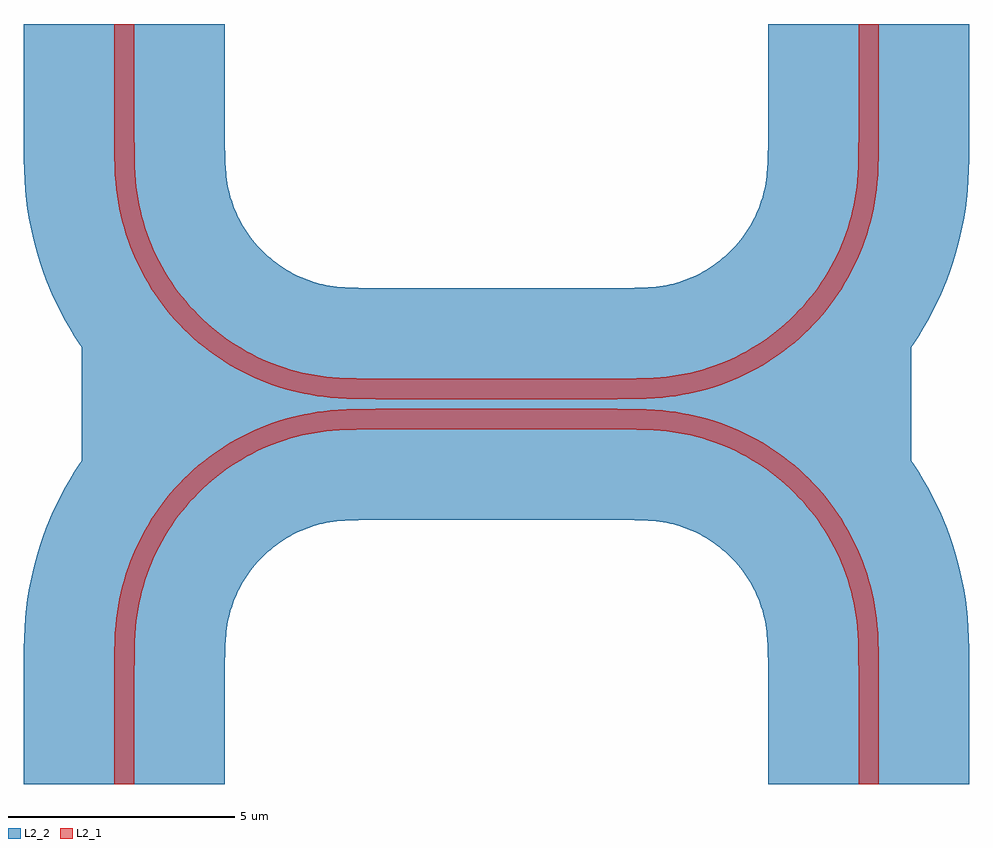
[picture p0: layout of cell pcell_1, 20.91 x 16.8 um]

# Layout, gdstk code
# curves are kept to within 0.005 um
import gdstk
lib = gdstk.Library(unit=1e-6, precision=1e-09)
def R(c, l, rs):  # rectangles x0, y0, x1, y1
    for r in rs: c.add(gdstk.rectangle(r[:2], r[2:], *l))
def P(c, l, *ps):  # polygons
    for p in ps: c.add(gdstk.Polygon(p, *l))
L2_1 = (2, 1)
L2_2 = (2, 2)

pcell_1_wg1a = lib.new_cell('pcell_1_wg1a')
P(pcell_1_wg1a, L2_1, [(-8.003,-8.398),(-7.997,-5.461),(-7.971,-4.931),(-7.941,-4.667),(-7.895,-4.404),(-7.8,-4.015),(-7.718,-3.762),(-7.57,-3.39),(-7.454,-3.15),(-7.255,-2.803),(-7.107,-2.582),(-6.946,-2.369),(-6.684,-2.067),(-6.495,-1.878),(-6.193,-1.616),(-5.98,-1.455),(-5.759,-1.307),(-5.412,-1.108),(-5.172,-0.992),(-4.926,-0.89),(-4.547,-0.762),(-4.288,-0.695),(-3.895,-0.621),(-3.631,-0.591),(-3.293,-0.571),(-2.425,-0.559),(0,-0.559),(0,-0.109),(-2.426,-0.109),(-3.311,-0.121),(-3.815,-0.157),(-4.104,-0.199),(-4.39,-0.257),(-4.672,-0.33),(-5.087,-0.47),(-5.488,-0.643),(-5.874,-0.85),(-6.121,-1.006),(-6.474,-1.264),(-6.804,-1.551),(-7.011,-1.758),(-7.298,-2.088),(-7.556,-2.441),(-7.712,-2.688),(-7.919,-3.074),(-8.092,-3.475),(-8.232,-3.89),(-8.336,-4.315),(-8.386,-4.602),(-8.432,-5.065),(-8.447,-5.45),(-8.453,-8.398)])
P(pcell_1_wg1a, L2_2, [(-6.003,-8.398),(-6.001,-5.694),(-5.986,-5.213),(-5.971,-5.029),(-5.949,-4.875),(-5.9,-4.648),(-5.832,-4.426),(-5.745,-4.21),(-5.641,-4.002),(-5.52,-3.804),(-5.383,-3.617),(-5.283,-3.498),(-5.121,-3.332),(-5.005,-3.228),(-4.822,-3.086),(-4.627,-2.959),(-4.422,-2.849),(-4.209,-2.757),(-3.988,-2.683),(-3.839,-2.644),(-3.61,-2.601),(-3.349,-2.576),(-2.868,-2.561),(0,-2.559),(0,1.891),(-2.923,1.888),(-3.388,1.878),(-3.843,1.85),(-4.245,1.804),(-4.642,1.735),(-4.84,1.692),(-5.23,1.591),(-5.423,1.532),(-5.804,1.398),(-6.176,1.243),(-6.359,1.157),(-6.717,0.972),(-6.892,0.871),(-7.234,0.656),(-7.4,0.542),(-7.563,0.423),(-7.878,0.171),(-8.179,-0.098),(-8.323,-0.239),(-8.464,-0.383),(-8.733,-0.684),(-8.985,-0.999),(-9.104,-1.162),(-9.218,-1.328),(-9.433,-1.67),(-9.629,-2.023),(-9.805,-2.386),(-9.96,-2.758),(-10.029,-2.948),(-10.094,-3.139),(-10.206,-3.526),(-10.297,-3.92),(-10.366,-4.317),(-10.392,-4.517),(-10.429,-4.945),(-10.446,-5.404),(-10.453,-6.133),(-10.453,-8.398)])

pcell_1_wg2a = lib.new_cell('pcell_1_wg2a')
P(pcell_1_wg2a, L2_1, [(-8.453,8.398),(-8.453,6.136),(-8.441,5.251),(-8.405,4.747),(-8.363,4.458),(-8.305,4.172),(-8.232,3.89),(-8.092,3.475),(-7.919,3.074),(-7.784,2.815),(-7.636,2.563),(-7.387,2.203),(-7.205,1.975),(-6.909,1.653),(-6.587,1.357),(-6.359,1.175),(-5.999,0.926),(-5.747,0.778),(-5.488,0.643),(-5.087,0.47),(-4.672,0.33),(-4.39,0.257),(-4.104,0.199),(-3.815,0.157),(-3.311,0.121),(-2.426,0.109),(0,0.109),(0,0.559),(-2.425,0.559),(-3.293,0.571),(-3.631,0.591),(-3.895,0.621),(-4.288,0.695),(-4.547,0.762),(-4.926,0.89),(-5.172,0.992),(-5.412,1.108),(-5.645,1.238),(-5.871,1.38),(-6.088,1.534),(-6.397,1.788),(-6.591,1.971),(-6.774,2.165),(-7.028,2.474),(-7.182,2.691),(-7.324,2.917),(-7.454,3.15),(-7.57,3.39),(-7.672,3.636),(-7.8,4.015),(-7.867,4.274),(-7.92,4.535),(-7.958,4.799),(-7.983,5.092),(-7.997,5.461),(-8.002,5.895),(-8.003,8.398)])
P(pcell_1_wg2a, L2_2, [(-10.453,8.398),(-10.452,5.882),(-10.446,5.404),(-10.429,4.945),(-10.392,4.517),(-10.366,4.317),(-10.297,3.92),(-10.206,3.526),(-10.094,3.139),(-9.96,2.758),(-9.805,2.386),(-9.629,2.023),(-9.534,1.845),(-9.328,1.498),(-9.218,1.328),(-8.985,0.999),(-8.733,0.684),(-8.601,0.532),(-8.323,0.239),(-8.03,-0.039),(-7.878,-0.171),(-7.563,-0.423),(-7.234,-0.656),(-7.064,-0.766),(-6.717,-0.972),(-6.539,-1.067),(-6.176,-1.243),(-5.804,-1.398),(-5.423,-1.532),(-5.036,-1.644),(-4.642,-1.735),(-4.245,-1.804),(-4.045,-1.83),(-3.617,-1.867),(-3.158,-1.884),(-2.68,-1.89),(0,-1.891),(0,2.559),(-2.868,2.561),(-3.349,2.576),(-3.61,2.601),(-3.839,2.644),(-3.988,2.683),(-4.209,2.757),(-4.422,2.849),(-4.627,2.959),(-4.822,3.086),(-5.005,3.228),(-5.121,3.332),(-5.283,3.498),(-5.383,3.617),(-5.52,3.804),(-5.641,4.002),(-5.745,4.21),(-5.832,4.426),(-5.9,4.648),(-5.949,4.875),(-5.971,5.029),(-5.986,5.213),(-6.001,5.694),(-6.003,8.398)])

pcell_1_wg1b = lib.new_cell('pcell_1_wg1b')
P(pcell_1_wg1b, L2_1, [(0,-0.559),(3.101,-0.565),(3.631,-0.591),(3.895,-0.621),(4.158,-0.667),(4.547,-0.762),(4.8,-0.844),(5.172,-0.992),(5.412,-1.108),(5.759,-1.307),(5.98,-1.455),(6.193,-1.616),(6.495,-1.878),(6.684,-2.067),(6.946,-2.369),(7.107,-2.582),(7.255,-2.803),(7.454,-3.15),(7.57,-3.39),(7.672,-3.636),(7.8,-4.015),(7.867,-4.274),(7.92,-4.535),(7.958,-4.799),(7.983,-5.092),(7.997,-5.461),(8.002,-5.895),(8.003,-8.398),(8.453,-8.398),(8.453,-6.136),(8.441,-5.251),(8.405,-4.747),(8.363,-4.458),(8.305,-4.172),(8.232,-3.89),(8.092,-3.475),(7.919,-3.074),(7.712,-2.688),(7.556,-2.441),(7.298,-2.088),(7.011,-1.758),(6.804,-1.551),(6.474,-1.264),(6.121,-1.006),(5.874,-0.85),(5.488,-0.643),(5.087,-0.47),(4.672,-0.33),(4.247,-0.226),(3.96,-0.176),(3.497,-0.13),(3.112,-0.115),(0,-0.109)])
P(pcell_1_wg1b, L2_2, [(0,-2.559),(2.868,-2.561),(3.349,-2.576),(3.61,-2.601),(3.839,-2.644),(3.988,-2.683),(4.209,-2.757),(4.422,-2.849),(4.627,-2.959),(4.822,-3.086),(5.005,-3.228),(5.121,-3.332),(5.283,-3.498),(5.383,-3.617),(5.52,-3.804),(5.641,-4.002),(5.745,-4.21),(5.832,-4.426),(5.9,-4.648),(5.949,-4.875),(5.971,-5.029),(5.986,-5.213),(6.001,-5.694),(6.003,-8.398),(10.453,-8.398),(10.45,-5.639),(10.44,-5.174),(10.412,-4.719),(10.366,-4.317),(10.297,-3.92),(10.254,-3.722),(10.153,-3.332),(10.094,-3.139),(9.96,-2.758),(9.805,-2.386),(9.629,-2.023),(9.534,-1.845),(9.328,-1.498),(9.104,-1.162),(8.985,-0.999),(8.733,-0.684),(8.601,-0.532),(8.464,-0.383),(8.179,-0.098),(8.03,0.039),(7.722,0.299),(7.563,0.423),(7.234,0.656),(7.064,0.766),(6.717,0.972),(6.539,1.067),(6.176,1.243),(5.804,1.398),(5.423,1.532),(5.23,1.591),(4.84,1.692),(4.642,1.735),(4.245,1.804),(4.045,1.83),(3.617,1.867),(3.158,1.884),(2.429,1.891),(0,1.891)])

pcell_1_wg2b = lib.new_cell('pcell_1_wg2b')
P(pcell_1_wg2b, L2_1, [(0,0.109),(2.426,0.109),(3.311,0.121),(3.815,0.157),(4.104,0.199),(4.39,0.257),(4.672,0.33),(5.087,0.47),(5.488,0.643),(5.747,0.778),(5.999,0.926),(6.359,1.175),(6.587,1.357),(6.909,1.653),(7.205,1.975),(7.387,2.203),(7.636,2.563),(7.784,2.815),(7.919,3.074),(8.092,3.475),(8.232,3.89),(8.305,4.172),(8.363,4.458),(8.405,4.747),(8.441,5.251),(8.453,6.136),(8.453,8.398),(8.003,8.398),(8.002,5.895),(7.997,5.461),(7.983,5.092),(7.958,4.799),(7.92,4.535),(7.867,4.274),(7.8,4.015),(7.672,3.636),(7.57,3.39),(7.454,3.15),(7.324,2.917),(7.182,2.691),(7.028,2.474),(6.774,2.165),(6.591,1.971),(6.397,1.788),(6.088,1.534),(5.871,1.38),(5.645,1.238),(5.412,1.108),(5.172,0.992),(4.926,0.89),(4.547,0.762),(4.288,0.695),(3.895,0.621),(3.631,0.591),(3.293,0.571),(2.425,0.559),(0,0.559)])
P(pcell_1_wg2b, L2_2, [(0,-1.891),(2.68,-1.89),(3.158,-1.884),(3.617,-1.867),(4.045,-1.83),(4.245,-1.804),(4.642,-1.735),(5.036,-1.644),(5.423,-1.532),(5.804,-1.398),(6.176,-1.243),(6.539,-1.067),(6.717,-0.972),(7.064,-0.766),(7.234,-0.656),(7.563,-0.423),(7.878,-0.171),(8.03,-0.039),(8.323,0.239),(8.601,0.532),(8.733,0.684),(8.985,0.999),(9.218,1.328),(9.328,1.498),(9.534,1.845),(9.629,2.023),(9.805,2.386),(9.96,2.758),(10.094,3.139),(10.206,3.526),(10.297,3.92),(10.366,4.317),(10.392,4.517),(10.429,4.945),(10.446,5.404),(10.452,5.882),(10.453,8.398),(6.003,8.398),(6.001,5.694),(5.986,5.213),(5.971,5.029),(5.949,4.875),(5.9,4.648),(5.832,4.426),(5.745,4.21),(5.641,4.002),(5.52,3.804),(5.383,3.617),(5.283,3.498),(5.121,3.332),(5.005,3.228),(4.822,3.086),(4.627,2.959),(4.422,2.849),(4.209,2.757),(3.988,2.683),(3.839,2.644),(3.61,2.601),(3.349,2.576),(2.868,2.561),(0,2.559)])

pcell_1 = lib.new_cell('pcell_1')
R(pcell_1, L2_2, [(-9.164,-2.225,9.164,2.225)])
pcell_1.add(gdstk.Reference(pcell_1_wg1a, (0,0)))
pcell_1.add(gdstk.Reference(pcell_1_wg2a, (0,0)))
pcell_1.add(gdstk.Reference(pcell_1_wg1b, (0,0)))
pcell_1.add(gdstk.Reference(pcell_1_wg2b, (0,0)))

lib.write_gds('pcell_1.gds')
